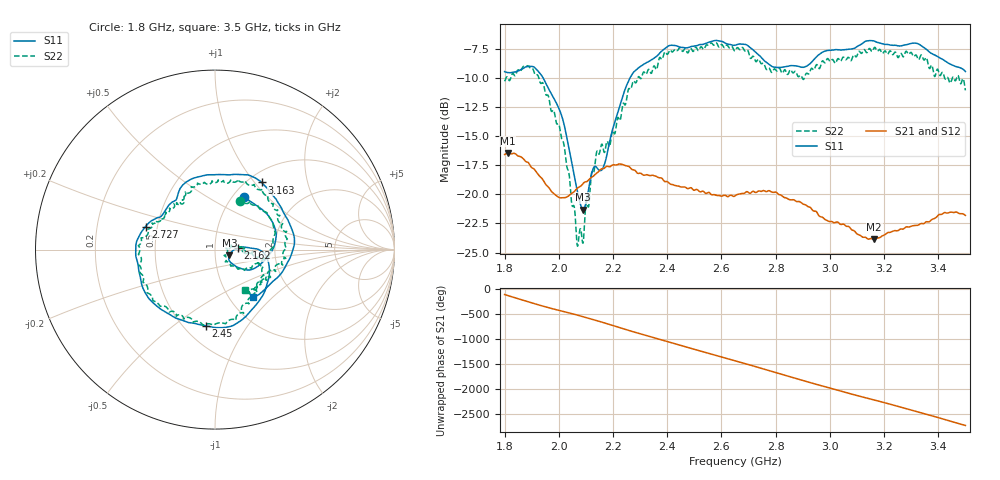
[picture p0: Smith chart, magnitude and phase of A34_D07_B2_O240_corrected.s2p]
! Created with skrf 1.9.0 (http://scikit-rf.org).
# Hz S RI R 50.0
!freq ReS11 ImS11 ReS21 ImS21 ReS12 ImS12 ReS22 ImS22
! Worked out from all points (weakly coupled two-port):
!   1601 points, 1.8 GHz to 3.5 GHz, reference 50 ohm
!   highest |S21| = -16.46 dB at 1.812 GHz (marker M1); lowest = -23.9 dB at 3.163 GHz (marker M2)
!   lowest |S11| = -21.3 dB at 2.09 GHz (marker M3), VSWR 1.19, Z = 58.6 - j3.76 ohm
!   |S11| at or under -10 dB: 1.942 GHz to 2.263 GHz (320.5 MHz wide, 15.2 % of centre)
!   |S22| runs from -24.5 to -7.0 dB; largest |S21 - S12| = 0.0027
!   S11 on the Smith chart (normalised r, x): 1.8 GHz: 1.13, +0.75; 2.162 GHz: 1.30, +0.02; 2.45 GHz: 0.64, -0.66; 2.727 GHz: 0.43, +0.13; 3.163 GHz: 1.15, +1.09; 3.5 GHz: 1.28, -0.76
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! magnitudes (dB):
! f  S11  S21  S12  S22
! 1.8 GHz  -9.5  -16.6  -16.6  -10.3
! 1.812 GHz  -9.5  -16.5  -16.5  -10.0
! 1.886 GHz  -9.0  -17.3  -17.3  -8.9
! 1.942 GHz  -10.0  -18.8  -18.8  -10.5
! 2.013 GHz  -13.4  -20.3  -20.3  -15.4
! 2.067 GHz  -19.5  -19.5  -19.5  -24.1
! 2.084 GHz  -21.1  -19.2  -19.2  -23.4
! 2.09 GHz  -21.3  -19.1  -19.1  -24.1
! 2.128 GHz  -17.7  -18.4  -18.4  -18.1
! 2.162 GHz  -17.8  -17.8  -17.7  -15.9
! 2.189 GHz  -15.3  -17.6  -17.6  -15.8
! 2.26 GHz  -10.1  -17.6  -17.7  -10.9
! 2.367 GHz  -8.0  -18.6  -18.5  -8.6
! 2.45 GHz  -7.4  -19.4  -19.4  -7.5
! 2.65 GHz  -7.2  -20.1  -20.1  -7.7
! 2.727 GHz  -7.8  -19.8  -19.8  -8.6
! 2.797 GHz  -9.1  -19.8  -19.8  -9.2
! 2.934 GHz  -8.6  -21.3  -21.3  -9.2
! 3.163 GHz  -6.8  -23.9  -23.8  -7.4
! 3.217 GHz  -7.1  -23.3  -23.3  -7.8
! 3.323 GHz  -7.0  -22.7  -22.6  -8.2
! 3.5 GHz  -9.4  -21.8  -21.8  -11.1
